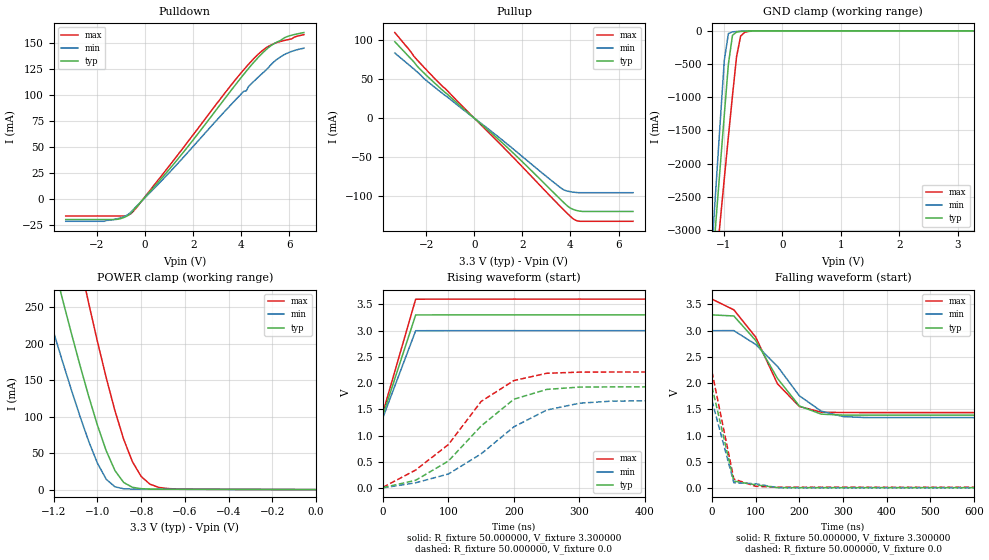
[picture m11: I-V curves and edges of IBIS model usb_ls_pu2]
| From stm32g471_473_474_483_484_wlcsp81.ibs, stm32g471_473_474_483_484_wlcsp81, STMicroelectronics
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|   Model usb_ls_pu2
[Model]  usb_ls_pu2
Model_type I/O
Polarity   Non-Inverting
Enable   Active-Low
Vinl =   0.990000V
Vinh =   2.310000V
Vmeas =  1.650000V
Cref =   50.000000pF
Rref =   100.000000M
Vref =   0.0V
C_comp   6.430500pF   6.217500pF   6.600000pF
[Temperature Range]   25.000000   -40.000000   0.125000k
[Pullup Reference]   3.300000V   3.000000V   3.600000V
[Pulldown Reference]   0.0V   0.0V   0.0V
[POWER Clamp Reference]   3.300000V   3.000000V   3.600000V
[GND Clamp Reference]   0.0V   0.0V   0.0V
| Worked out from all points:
|   slope of the pulldown table from 0 to 0.495 V, typ, clamps not added: 38.1 ohm
|   slope of the pullup table from 0 to 0.495 V, typ, clamps not added: 37.4 ohm
|   GND clamp passes 1 mA (typ) near -0.52 V on its own axis
|   POWER clamp passes 1 mA (typ) near -0.78 V on its own axis
|   rising waveform, R_fixture 50.000000, V_fixture 3.300000: 20-80 % time 30ns typ, 30ns min, 30ns max; typ from 1.39 V to 3.3 V
|   rising waveform, R_fixture 50.000000, V_fixture 0.0: 20-80 % time 102ns typ, 117ns min, 104ns max; typ from 0.011 V to 1.93 V
|   falling waveform, R_fixture 50.000000, V_fixture 3.300000: 20-80 % time 91.6ns typ, 106ns min, 91.4ns max; typ from 3.3 V to 1.39 V
|   falling waveform, R_fixture 50.000000, V_fixture 0.0: 20-80 % time 32.1ns typ, 31.9ns min, 32.3ns max; typ from 1.93 V to 0.011 V
[Pulldown]
|Voltage   I(typ)   I(min)   I(max)
-3.3V     -19.3mA    -21mA      -15.9mA
-1.7V     -19.3mA    -21mA      -15.9mA
-1V       -18.3mA    -17.45mA   -15.9mA
-600mV    -13.35mA   -12.31mA   -13.78mA
1.5V      42.83mA    38.19mA    47.12mA
3.5V      102.6mA    89.39mA    107.7mA
4.1V      120.3mA    104mA      124.7mA
4.2V      123.1mA    104.3mA    127.4mA
4.5V      131.4mA    113.1mA    135mA
5V        143.4mA    123.9mA    145.3mA
5.6V      152.5mA    136.6mA    151.7mA
6.6V      160.4mA    145.4mA    158.4mA
[Pullup]
|Voltage   I(typ)   I(min)   I(max)
-3.3V     97.9mA     83.5mA     109.7mA
-2.7V     78.3mA     67.9mA     87.6mA
-2.5V     71.7mA     62.7mA     79mA
-2.3V     64.2mA     57.3mA     72.2mA
-1.9V     52.3mA     46mA       59mA
1.3V      -35.49mA   -31.42mA   -40.17mA
3.5V      -101.6mA   -87.13mA   -110.8mA
3.8V      -110.6mA   -92.87mA   -120.1mA
4.1V      -116.9mA   -94.9mA    -128.7mA
4.2V      -118mA     -95.2mA    -130.7mA
4.4V      -119.3mA   -95.6mA    -132.3mA
6.6V      -119.6mA   -95.6mA    -132.3mA
[GND_clamp]
|Voltage   I(typ)   I(min)   I(max)
-3.3V     -10A       -9.932A    -9.409A
-1.2V     -3.625A    -3.264A    -4.165A
-1.13V    -2.833A    -2.317A    -3.515A
-1.06V    -2.046A    -1.375A    -2.868A
-990mV    -1.266A    -445.1mA   -2.226A
-920mV    -503.5mA   -41.44mA   -1.593A
-850mV    -68.23mA   -15.9mA    -976.3mA
-780mV    -18.22mA   -9.77mA    -388mA
-710mV    -9.477mA   -5.248mA   -77.72mA
-640mV    -5.151mA   -2.055mA   -21.58mA
-360mV    -11.68uA   -97.01nA   -423.1uA
3.28V     0A         0A         0A
[POWER_clamp]
|Voltage   I(typ)   I(min)   I(max)
-3.28V    2.966A     2.441A     3.783A
-1.28V    403.2mA    295.1mA    599.7mA
-1.24V    354.9mA    254.5mA    540mA
-1.16V    260.4mA    175.2mA    422.6mA
-1.08V    170mA      100.2mA    309.3mA
-1.04V    127.5mA    65.91mA    254.8mA
-960mV    53.13mA    14.16mA    153.1mA
-920mV    26.04mA    3.794mA    108mA
-840mV    3.136mA    699.7uA    38.18mA
-760mV    764.4uA    550.2uA    7.467mA
-640mV    519.6uA    443.3uA    886.3uA
0V        0A         0A         68.46nA
[Ramp]
| variable   typ   min   max
dV/dt_r  1.15139/94.10038n   0.99370/0.11031u   1.31673/96.68694n
dV/dt_f  1.14564/83.84790n   0.99318/98.09276n   1.29606/85.64049n
R_load = 50.000000
[Rising Waveform]
R_fixture= 50.000000
V_fixture= 3.300000
V_fixture_min= 3.000000
V_fixture_max= 3.600000
|time   V(typ)   V(min)   V(max)
0s        1.391V     1.344V     1.44V
50.05ns   3.299V     2.999V     3.599V
150.2ns   3.3V       3V         3.6V
4.955us   3.3V       3V         3.6V
[Rising Waveform]
R_fixture= 50.000000
V_fixture= 0.0
V_fixture_min= 0.0
V_fixture_max= 0.0
|time   V(typ)   V(min)   V(max)
0s        10.62mV    6.933mV    18.04mV
50.05ns   151.5mV    103.5mV    346.3mV
100.1ns   517.9mV    271mV      831.9mV
150.2ns   1.186V     654.7mV    1.653V
200.2ns   1.695V     1.169V     2.05V
250.2ns   1.881V     1.488V     2.188V
300.3ns   1.926V     1.618V     2.21V
350.3ns   1.929V     1.659V     2.212V
400.4ns   1.929V     1.663V     2.212V
4.955us   1.93V      1.663V     2.212V
[Falling Waveform]
R_fixture= 50.000000
V_fixture= 3.300000
V_fixture_min= 3.000000
V_fixture_max= 3.600000
|time   V(typ)   V(min)   V(max)
0s        3.3V       3V         3.6V
50.05ns   3.279V     3V         3.396V
100.1ns   2.812V     2.737V     2.878V
150.2ns   2.089V     2.319V     1.986V
200.2ns   1.565V     1.76V      1.556V
250.2ns   1.411V     1.468V     1.448V
300.3ns   1.392V     1.364V     1.441V
350.3ns   1.391V     1.345V     1.44V
4.955us   1.391V     1.344V     1.44V
[Falling Waveform]
R_fixture= 50.000000
V_fixture= 0.0
V_fixture_min= 0.0
V_fixture_max= 0.0
|time   V(typ)   V(min)   V(max)
0s        1.93V      1.663V     2.212V
50.05ns   135.1mV    104.8mV    173.5mV
100.1ns   63.95mV    85.05mV    36.51mV
150.2ns   12.05mV    10.39mV    19.04mV
200.2ns   10.63mV    7.03mV     18.27mV
4.955us   10.62mV    6.933mV    18.04mV
